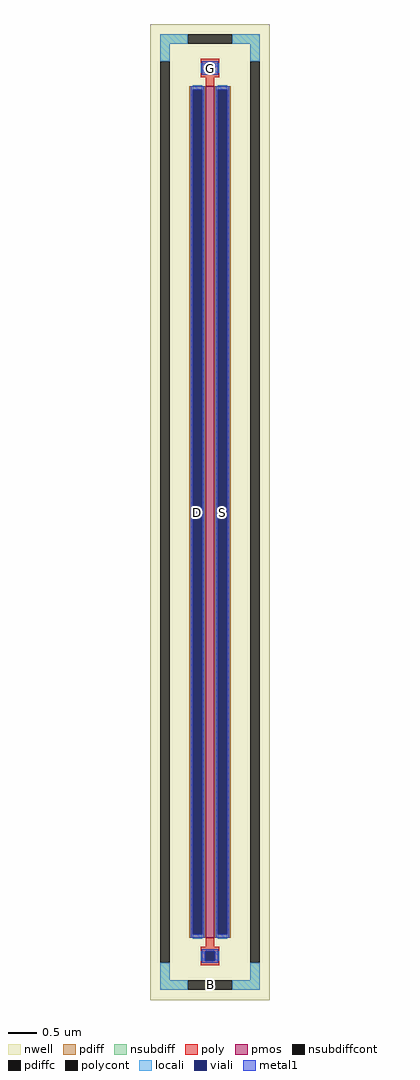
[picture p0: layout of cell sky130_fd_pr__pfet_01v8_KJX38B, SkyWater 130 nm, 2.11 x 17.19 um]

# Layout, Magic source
magic
tech sky130A
magscale 1 2
<< nwell >>
rect -211 -1719 211 1719
<< pmos >>
rect -15 -1500 15 1500
<< pdiff >>
rect -73 1488 -15 1500
rect -73 -1488 -61 1488
rect -27 -1488 -15 1488
rect -73 -1500 -15 -1488
rect 15 1488 73 1500
rect 15 -1488 27 1488
rect 61 -1488 73 1488
rect 15 -1500 73 -1488
<< pdiffc >>
rect -61 -1488 -27 1488
rect 27 -1488 61 1488
<< nsubdiff >>
rect -175 1649 -79 1683
rect 79 1649 175 1683
rect -175 1587 -141 1649
rect 141 1587 175 1649
rect -175 -1649 -141 -1587
rect 141 -1649 175 -1587
rect -175 -1683 -79 -1649
rect 79 -1683 175 -1649
<< nsubdiffcont >>
rect -79 1649 79 1683
rect -175 -1587 -141 1587
rect 141 -1587 175 1587
rect -79 -1683 79 -1649
<< poly >>
rect -33 1581 33 1597
rect -33 1547 -17 1581
rect 17 1547 33 1581
rect -33 1531 33 1547
rect -15 1500 15 1531
rect -15 -1531 15 -1500
rect -33 -1547 33 -1531
rect -33 -1581 -17 -1547
rect 17 -1581 33 -1547
rect -33 -1597 33 -1581
<< polycont >>
rect -17 1547 17 1581
rect -17 -1581 17 -1547
<< locali >>
rect -175 1649 -79 1683
rect 79 1649 175 1683
rect -175 1587 -141 1649
rect 141 1587 175 1649
rect -33 1547 -17 1581
rect 17 1547 33 1581
rect -61 1488 -27 1504
rect -61 -1504 -27 -1488
rect 27 1488 61 1504
rect 27 -1504 61 -1488
rect -33 -1581 -17 -1547
rect 17 -1581 33 -1547
rect -175 -1649 -141 -1587
rect 141 -1649 175 -1587
rect -175 -1683 -79 -1649
rect 79 -1683 175 -1649
<< viali >>
rect -17 1547 17 1581
rect -61 -1488 -27 1488
rect 27 -1488 61 1488
rect -17 -1581 17 -1547
<< metal1 >>
rect -29 1581 29 1587
rect -29 1547 -17 1581
rect 17 1547 29 1581
rect -29 1541 29 1547
rect -67 1488 -21 1500
rect -67 -1488 -61 1488
rect -27 -1488 -21 1488
rect -67 -1500 -21 -1488
rect 21 1488 67 1500
rect 21 -1488 27 1488
rect 61 -1488 67 1488
rect 21 -1500 67 -1488
rect -29 -1547 29 -1541
rect -29 -1581 -17 -1547
rect 17 -1581 29 -1547
rect -29 -1587 29 -1581
<< labels >>
rlabel nsubdiffcont 0 -1666 0 -1666 0 B
port 13 nsew
rlabel pdiffc -44 0 -44 0 0 D
port 14 nsew
rlabel pdiffc 44 0 44 0 0 S
port 15 nsew
rlabel polycont 0 1564 0 1564 0 G
port 16 nsew
<< properties >>
string FIXED_BBOX -158 -1666 158 1666
string gencell sky130_fd_pr__pfet_01v8
string library sky130
string parameters w 15.0 l 0.15 m 1 nf 1 diffcov 100 polycov 100 guard 1 glc 1 grc 1 gtc 1 gbc 1 tbcov 100 rlcov 100 topc 1 botc 1 poverlap 0 doverlap 1 lmin 0.15 wmin 0.42 class mosfet compatible {sky130_fd_pr__pfet_01v8  sky130_fd_pr__pfet_01v8_lvt sky130_fd_pr__pfet_01v8_hvt  sky130_fd_pr__pfet_g5v0d10v5} full_metal 1 viasrc 100 viadrn 100 viagate 100 viagb 0 viagr 0 viagl 0 viagt 0 doports 1
<< end >>
